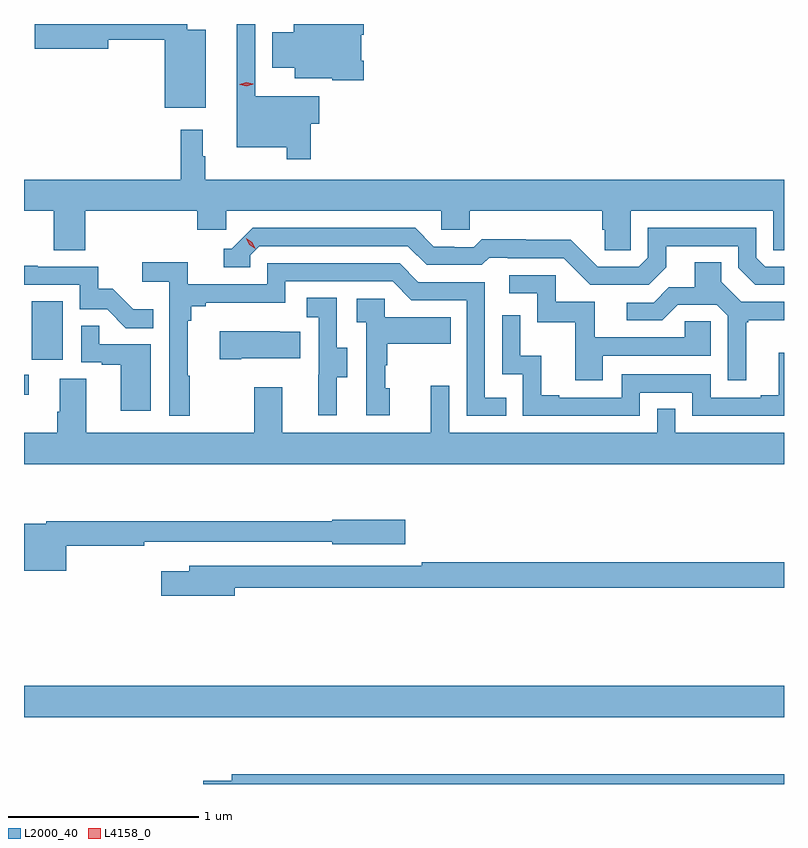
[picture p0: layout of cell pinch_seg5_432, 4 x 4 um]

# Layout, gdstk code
import gdstk
lib = gdstk.Library(unit=1e-6, precision=1e-09)
def R(c, l, rs):  # rectangles x0, y0, x1, y1
    for r in rs: c.add(gdstk.rectangle(r[:2], r[2:], *l))
def P(c, l, *ps):  # polygons
    for p in ps: c.add(gdstk.Polygon(p, *l))
L2000_40 = (2000, 40)
L4158_0 = (4158, 0)

pinch_seg5_432 = lib.new_cell('pinch_seg5_432')
R(pinch_seg5_432, L2000_40, [(921.412,871.412,925.412,871.576), (921.412,873.108,921.436,873.213), (921.452,873.294,921.616,873.601)])
P(pinch_seg5_432, L2000_40, [(922.922,874.534),(922.966,874.534),(922.966,874.681),(922.629,874.681),(922.629,875.06),(922.532,875.06),(922.532,874.412),(922.794,874.412),(922.794,874.347),(922.922,874.347)],
  [(923.201,874.867),(923.188,874.867),(923.188,875.003),(923.201,875.003),(923.201,875.06),(922.832,875.06),(922.832,875.017),(922.718,875.017),(922.718,874.829),(922.838,874.829),(922.838,874.775),(923.034,874.775),(923.034,874.763),(923.201,874.763)],
  [(922.369,875.029),(922.27,875.029),(922.27,875.06),(921.468,875.06),(921.468,874.931),(921.856,874.931),(921.856,874.978),(922.154,874.978),(922.154,874.619),(922.369,874.619)],
  [(921.734,874.076),(922.325,874.076),(922.325,873.978),(922.476,873.978),(922.476,874.076),(923.607,874.076),(923.607,873.978),(923.757,873.978),(923.757,874.076),(924.455,874.076),(924.455,873.978),(924.469,873.978),(924.469,873.868),(924.606,873.868),(924.606,874.076),(925.356,874.076),(925.356,873.868),(925.412,873.868),(925.412,874.24),(922.366,874.24),(922.366,874.364),(922.354,874.364),(922.354,874.504),(922.237,874.504),(922.237,874.24),(921.412,874.24),(921.412,874.076),(921.569,874.076),(921.569,873.868),(921.734,873.868)],
  [(924.793,873.781),(924.793,873.891),(925.17,873.891),(925.17,873.777),(925.26,873.687),(925.412,873.687),(925.412,873.783),(925.314,873.783),(925.266,873.831),(925.266,873.987),(924.696,873.987),(924.696,873.831),(924.648,873.783),(924.432,873.783),(924.29,873.925),(924.054,873.925),(924.054,873.928),(923.821,873.928),(923.779,873.885),(923.676,873.885),(923.676,873.888),(923.569,873.888),(923.47,873.987),(922.617,873.987),(922.506,873.876),(922.463,873.876),(922.463,873.78),(922.602,873.78),(922.602,873.843),(922.65,873.891),(923.433,873.891),(923.532,873.792),(923.821,873.792),(923.86,873.831),(923.959,873.831),(923.959,873.828),(924.252,873.828),(924.393,873.687),(924.699,873.687)],
  [(925.213,873.489),(925.225,873.489),(925.225,873.5),(925.412,873.5),(925.412,873.597),(925.188,873.597),(925.081,873.704),(925.081,873.806),(924.941,873.806),(924.941,873.674),(924.806,873.674),(924.726,873.594),(924.585,873.594),(924.585,873.501),(924.772,873.501),(924.853,873.582),(925.059,873.582),(925.116,873.525),(925.116,873.186),(925.213,873.186)],
  [(922.285,873.209),(922.273,873.209),(922.273,873.497),(922.292,873.497),(922.292,873.574),(922.369,873.574),(922.369,873.593),(922.788,873.593),(922.788,873.705),(923.352,873.705),(923.451,873.606),(923.742,873.606),(923.742,872.997),(923.951,872.997),(923.951,873.093),(923.838,873.093),(923.838,873.702),(923.488,873.702),(923.389,873.801),(922.692,873.801),(922.692,873.69),(922.274,873.69),(922.274,873.806),(922.035,873.806),(922.035,873.704),(922.176,873.704),(922.176,872.997),(922.285,872.997)],
  [(922.091,873.559),(921.987,873.559),(921.88,873.666),(921.804,873.666),(921.804,873.783),(921.485,873.783),(921.485,873.788),(921.412,873.788),(921.412,873.687),(921.705,873.687),(921.705,873.558),(921.849,873.558),(921.947,873.46),(922.091,873.46)],
  [(924.457,873.315),(925.026,873.315),(925.026,873.495),(924.889,873.495),(924.889,873.411),(924.415,873.411),(924.415,873.597),(924.21,873.597),(924.21,873.738),(923.967,873.738),(923.967,873.642),(924.114,873.642),(924.114,873.489),(924.313,873.489),(924.313,873.186),(924.457,873.186)],
  [(923.059,873.202),(923.113,873.202),(923.113,873.357),(923.058,873.357),(923.058,873.62),(922.899,873.62),(922.899,873.517),(922.962,873.517),(922.962,873.213),(922.961,873.213),(922.961,873),(923.059,873)],
  [(923.338,873.144),(923.313,873.144),(923.313,873.263),(923.323,873.263),(923.323,873.377),(923.657,873.377),(923.657,873.517),(923.31,873.517),(923.31,873.615),(923.163,873.615),(923.163,873.491),(923.214,873.491),(923.214,873),(923.338,873)],
  [(924.654,873.12),(924.93,873.12),(924.93,872.997),(925.412,872.997),(925.412,873.331),(925.385,873.331),(925.385,873.106),(925.289,873.106),(925.289,873.093),(925.026,873.093),(925.026,873.216),(924.558,873.216),(924.558,873.093),(924.229,873.093),(924.229,873.106),(924.134,873.106),(924.134,873.314),(924.024,873.314),(924.024,873.526),(923.928,873.526),(923.928,873.216),(924.036,873.216),(924.036,872.997),(924.654,872.997)],
  [(922.078,873.375),(921.809,873.375),(921.809,873.473),(921.714,873.473),(921.714,873.279),(921.821,873.279),(921.821,873.267),(921.92,873.267),(921.92,873.024),(922.078,873.024)],
  [(922.555,873.302),(922.865,873.302),(922.865,873.439),(922.757,873.439),(922.757,873.442),(922.443,873.442),(922.443,873.295),(922.555,873.295)],
  [(925.412,872.908),(924.84,872.908),(924.84,873.035),(924.744,873.035),(924.744,872.908),(923.649,872.908),(923.649,873.157),(923.552,873.157),(923.552,872.908),(922.771,872.908),(922.771,873.148),(922.624,873.148),(922.624,872.908),(921.739,872.908),(921.739,873.194),(921.599,873.194),(921.599,873.02),(921.587,873.02),(921.587,872.908),(921.412,872.908),(921.412,872.744),(925.412,872.744)],
  [(921.634,872.314),(922.046,872.314),(922.046,872.334),(923.034,872.334),(923.034,872.321),(923.419,872.321),(923.419,872.451),(923.034,872.451),(923.034,872.443),(921.53,872.443),(921.53,872.431),(921.412,872.431),(921.412,872.183),(921.634,872.183)],
  [(922.522,872.092),(925.412,872.092),(925.412,872.228),(923.506,872.228),(923.506,872.208),(922.283,872.208),(922.283,872.179),(922.134,872.179),(922.134,872.05),(922.522,872.05)],
  [(925.412,871.111),(922.505,871.111),(922.505,871.077),(922.356,871.077),(922.356,871.06),(925.412,871.06)])
P(pinch_seg5_432, L4158_0, [(922.584,874.733),(922.548,874.741),(922.548,874.742),(922.548,874.742),(922.583,874.753),(922.618,874.745),(922.619,874.745),(922.618,874.744)],
  [(922.628,873.878),(922.597,873.898),(922.581,873.931),(922.581,873.932),(922.581,873.932),(922.612,873.912),(922.628,873.879),(922.628,873.878)])

lib.write_gds('pinch_seg5_432.gds')
